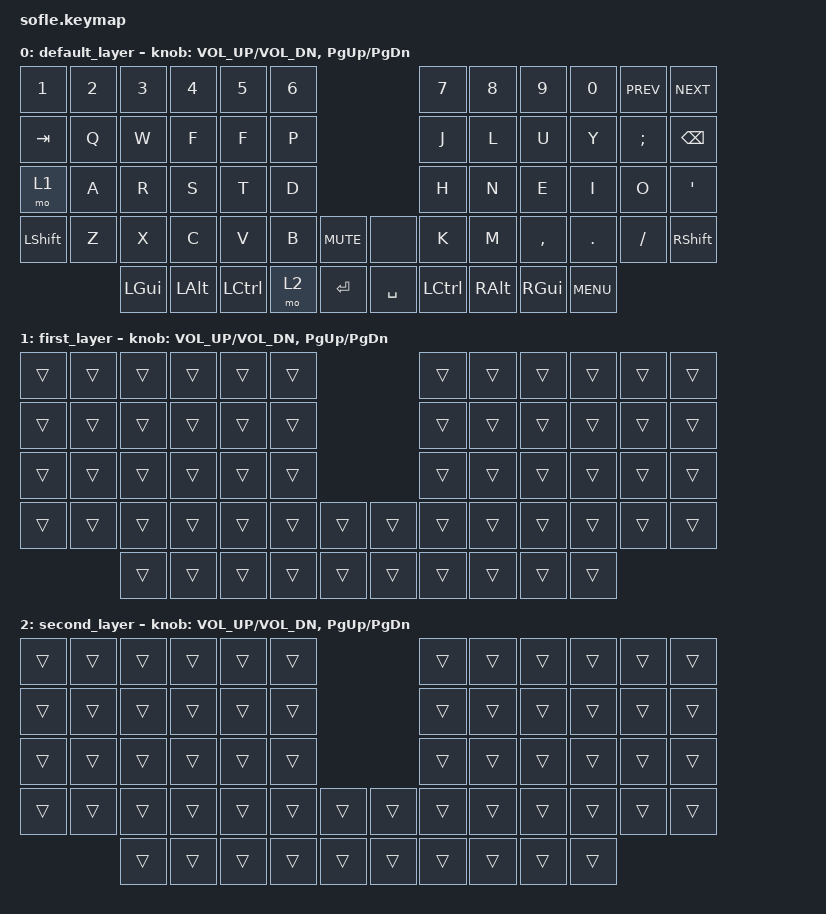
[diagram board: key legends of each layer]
/*
 * Copyright (c) 2020 The ZMK Contributors
 *
 * SPDX-License-Identifier: MIT
 */

#include <behaviors.dtsi>
#include <dt-bindings/zmk/keys.h>

/ {
    keymap {
        compatible = "zmk,keymap";

        default_layer {
            // ------------------------------------------------------------------------------------------------------------
            // |  `    |  1  |  2  |  3   |  4   |  5   |                   |  6   |  7    |  8    |  9   |   0   |       |
            // |  ESC  |  Q  |  W  |  E   |  R   |  T   |                   |  Y   |  U    |  I    |  O   |   P   | BKSPC |
            // |  TAB  |  A  |  S  |  D   |  F   |  G   |                   |  H   |  J    |  K    |  L   |   ;   |   '   |
            // | SHIFT |  Z  |  X  |  C   |  V   |  B   |  MUTE  |  |       |  N   |  M    |  ,    |  .   |   /   | SHIFT |
            //               | GUI | ALT  | CTRL | LOWER|  ENTER |  | SPACE | RAISE| CTRL  | ALT   | GUI  |

            bindings = <
   &kp N1  &kp N2    &kp N3    &kp N4     &kp N5  &kp N6                            &kp N7    &kp N8     &kp N9    &kp N0  &kp K_PREV  &kp K_NEXT
  &kp TAB   &kp Q     &kp W     &kp F      &kp F   &kp P                             &kp J     &kp L      &kp U     &kp Y    &kp SEMI    &kp BSPC
    &mo 1   &kp A     &kp R     &kp S      &kp T   &kp D                             &kp H     &kp N      &kp E     &kp I       &kp O     &kp SQT
&kp LSHFT   &kp Z     &kp X     &kp C      &kp V   &kp B  &kp C_MUTE      &none      &kp K     &kp M  &kp COMMA   &kp DOT    &kp FSLH   &kp RSHFT
                   &kp LGUI  &kp LALT  &kp LCTRL   &mo 2     &kp RET  &kp SPACE  &kp LCTRL  &kp RALT   &kp RGUI  &kp MENU
            >;

            sensor-bindings = <&inc_dec_kp C_VOL_UP C_VOL_DN &inc_dec_kp PG_UP PG_DN>;
        };

        first_layer {
            // TODO: Some binds are waiting for shifted keycode support.
            // ------------------------------------------------------------------------------------------------------------
            // |       |  F1 |  F2 |  F3  |  F4  |  F5  |                   |  F6  |  F7   |  F8   |  F9  |  F10  |  F11  |
            // | `     |   1 |   2 |   3  |   4  |   5  |                   |   6  |   7   |   8   |   9  |    0  |  F12  |
            // |       |  !  |  @  |  #   |  $   |  %   |                   |  ^   |  &    |  *    |  (   |   )   |   |   |
            // |       |  =  |  -  |  +   |  {   |  }   |        |  |       |  [   |  ]    |  ;    |  :   |   \   |       |
            //               |     |      |      |      |        |  |       |      |       |       |      |

            bindings = <
&trans  &trans  &trans  &trans  &trans  &trans                  &trans  &trans  &trans  &trans  &trans  &trans
&trans  &trans  &trans  &trans  &trans  &trans                  &trans  &trans  &trans  &trans  &trans  &trans
&trans  &trans  &trans  &trans  &trans  &trans                  &trans  &trans  &trans  &trans  &trans  &trans
&trans  &trans  &trans  &trans  &trans  &trans  &trans  &trans  &trans  &trans  &trans  &trans  &trans  &trans
                &trans  &trans  &trans  &trans  &trans  &trans  &trans  &trans  &trans  &trans
            >;

            sensor-bindings = <&inc_dec_kp C_VOL_UP C_VOL_DN &inc_dec_kp PG_UP PG_DN>;
        };

        second_layer {
            // ------------------------------------------------------------------------------------------------------------
            // |BTCLR| BT1  | BT2  |  BT3  |  BT4  |  BT5 |                |      |      |       |      |       |       |
            // |     | INS  | PSCR | GUI   |       |      |                | PGUP |      |   ^   |      |       |       |
            // |     | ALT  | CTRL | SHIFT |       | CAPS |                | PGDN |   <- |   v   |  ->  |  DEL  | BKSPC |
            // |     | UNDO | CUT  | COPY  | PASTE |      |      |  |      |      |      |       |      |       |       |
            //              |      |       |       |      |      |  |      |      |      |       |      |

            bindings = <
&trans  &trans  &trans  &trans  &trans  &trans                  &trans  &trans  &trans  &trans  &trans  &trans
&trans  &trans  &trans  &trans  &trans  &trans                  &trans  &trans  &trans  &trans  &trans  &trans
&trans  &trans  &trans  &trans  &trans  &trans                  &trans  &trans  &trans  &trans  &trans  &trans
&trans  &trans  &trans  &trans  &trans  &trans  &trans  &trans  &trans  &trans  &trans  &trans  &trans  &trans
                &trans  &trans  &trans  &trans  &trans  &trans  &trans  &trans  &trans  &trans
            >;

            sensor-bindings = <&inc_dec_kp C_VOL_UP C_VOL_DN &inc_dec_kp PG_UP PG_DN>;
        };
    };
};
